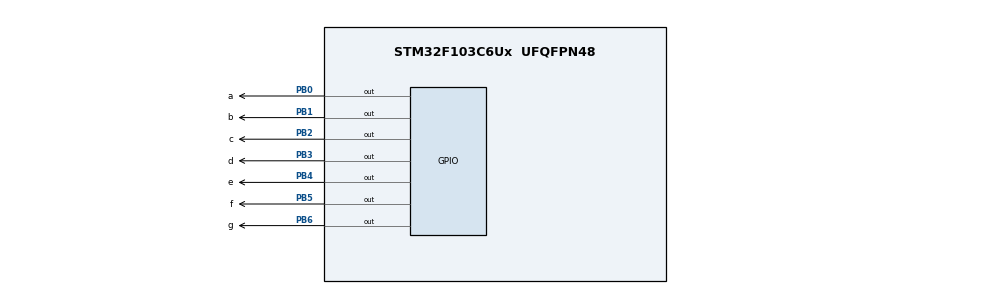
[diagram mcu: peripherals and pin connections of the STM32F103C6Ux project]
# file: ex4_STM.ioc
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Mcu.Family=STM32F1
Mcu.Name=STM32F103C6Ux
Mcu.Package=UFQFPN48
NVIC.PriorityGroup=NVIC_PRIORITYGROUP_4
PB0.GPIO_Label=a
PB0.Signal=GPIO_Output
PB1.GPIO_Label=b
PB1.Signal=GPIO_Output
PB2.GPIO_Label=c
PB2.Signal=GPIO_Output
PB3.GPIO_Label=d
PB3.Signal=GPIO_Output
PB4.GPIO_Label=e
PB4.Signal=GPIO_Output
PB5.GPIO_Label=f
PB5.Signal=GPIO_Output
PB6.GPIO_Label=g
PB6.Signal=GPIO_Output
ProjectManager.HeapSize=0x200
ProjectManager.StackSize=0x400
ProjectManager.TargetToolchain=STM32CubeIDE
RCC.APB1Freq_Value=8000000
RCC.APB2Freq_Value=8000000
VP_SYS_VS_ND.Mode=No_Debug
board=custom

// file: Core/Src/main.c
/* USER CODE BEGIN Header */
/**
  ******************************************************************************
  * @file           : main.c
  * @brief          : Main program body
  ******************************************************************************
  * @attention
  *
  * <h2><center>&copy; Copyright (c) 2022 STMicroelectronics.
  * All rights reserved.</center></h2>
  *
  * This software component is licensed by ST under BSD 3-Clause license,
  * the "License"; You may not use this file except in compliance with the
  * License. You may obtain a copy of the License at:
  *                        opensource.org/licenses/BSD-3-Clause
  *
  ******************************************************************************
  */
/* USER CODE END Header */
#include "main.h"

void SystemClock_Config(void);
static void MX_GPIO_Init(void);

/* USER CODE BEGIN 0 */
uint8_t segmentNumber[10] = {
        0x3f,  // 0
        0x06,  // 1
        0x5b,  // 2
        0x4f,  // 3
        0x66,  // 4
        0x6d,  // 5
        0x7d,  // 6
        0x07,  // 7
        0x7f,  // 8
        0x67   // 9
};

void display7SEG(uint8_t number){
	HAL_GPIO_WritePin(a_GPIO_Port, a_Pin, ((number>>0)&0x01)^0x01);
	HAL_GPIO_WritePin(b_GPIO_Port, b_Pin, ((number>>1)&0x01)^0x01);
	HAL_GPIO_WritePin(c_GPIO_Port, c_Pin, ((number>>2)&0x01)^0x01);
	HAL_GPIO_WritePin(d_GPIO_Port, d_Pin, ((number>>3)&0x01)^0x01);
	HAL_GPIO_WritePin(e_GPIO_Port, e_Pin, ((number>>4)&0x01)^0x01);
	HAL_GPIO_WritePin(f_GPIO_Port, f_Pin, ((number>>5)&0x01)^0x01);
	HAL_GPIO_WritePin(g_GPIO_Port, g_Pin, ((number>>6)&0x01)^0x01);
}
/* USER CODE END 0 */

int main(void)
{

  /* MCU Configuration--------------------------------------------------------*/

  /* Reset of all peripherals, Initializes the Flash interface and the Systick. */
  HAL_Init();

  /* Configure the system clock */
  SystemClock_Config();

  /* Initialize all configured peripherals */
  MX_GPIO_Init();

  /* Infinite loop */
  /* USER CODE BEGIN WHILE */
  uint8_t counter = 0;
  while (1)
  {
	  if (counter >= 10) {
		  counter = 0;
	  }
	  display7SEG(segmentNumber[counter]);
	  counter++;
	  HAL_Delay(1000) ;
    /* USER CODE END WHILE */

  }
}

void SystemClock_Config(void)
{
  RCC_OscInitTypeDef RCC_OscInitStruct = {0};
  RCC_ClkInitTypeDef RCC_ClkInitStruct = {0};

  /** Initializes the RCC Oscillators according to the specified parameters
  * in the RCC_OscInitTypeDef structure.
  */
  RCC_OscInitStruct.OscillatorType = RCC_OSCILLATORTYPE_HSI;
  RCC_OscInitStruct.HSIState = RCC_HSI_ON;
  RCC_OscInitStruct.HSICalibrationValue = RCC_HSICALIBRATION_DEFAULT;
  RCC_OscInitStruct.PLL.PLLState = RCC_PLL_NONE;
  if (HAL_RCC_OscConfig(&RCC_OscInitStruct) != HAL_OK)
  {
    Error_Handler();
  }
  /** Initializes the CPU, AHB and APB buses clocks
  */
  RCC_ClkInitStruct.ClockType = RCC_CLOCKTYPE_HCLK|RCC_CLOCKTYPE_SYSCLK
                              |RCC_CLOCKTYPE_PCLK1|RCC_CLOCKTYPE_PCLK2;
  RCC_ClkInitStruct.SYSCLKSource = RCC_SYSCLKSOURCE_HSI;
  RCC_ClkInitStruct.AHBCLKDivider = RCC_SYSCLK_DIV1;
  RCC_ClkInitStruct.APB1CLKDivider = RCC_HCLK_DIV1;
  RCC_ClkInitStruct.APB2CLKDivider = RCC_HCLK_DIV1;

  if (HAL_RCC_ClockConfig(&RCC_ClkInitStruct, FLASH_LATENCY_0) != HAL_OK)
  {
    Error_Handler();
  }
}

static void MX_GPIO_Init(void)
{
  GPIO_InitTypeDef GPIO_InitStruct = {0};

  /* GPIO Ports Clock Enable */
  __HAL_RCC_GPIOB_CLK_ENABLE();

  /*Configure GPIO pin Output Level */
  HAL_GPIO_WritePin(GPIOB, a_Pin|b_Pin|c_Pin|d_Pin
                          |e_Pin|f_Pin|g_Pin, GPIO_PIN_RESET);

  /*Configure GPIO pins : a_Pin b_Pin c_Pin d_Pin
                           e_Pin f_Pin g_Pin */
  GPIO_InitStruct.Pin = a_Pin|b_Pin|c_Pin|d_Pin
                          |e_Pin|f_Pin|g_Pin;
  GPIO_InitStruct.Mode = GPIO_MODE_OUTPUT_PP;
  GPIO_InitStruct.Pull = GPIO_NOPULL;
  GPIO_InitStruct.Speed = GPIO_SPEED_FREQ_LOW;
  HAL_GPIO_Init(GPIOB, &GPIO_InitStruct);

}

void Error_Handler(void)
{
  __disable_irq();
  while (1)
  {
  }
}

/************************ (C) COPYRIGHT STMicroelectronics *****END OF FILE****/
